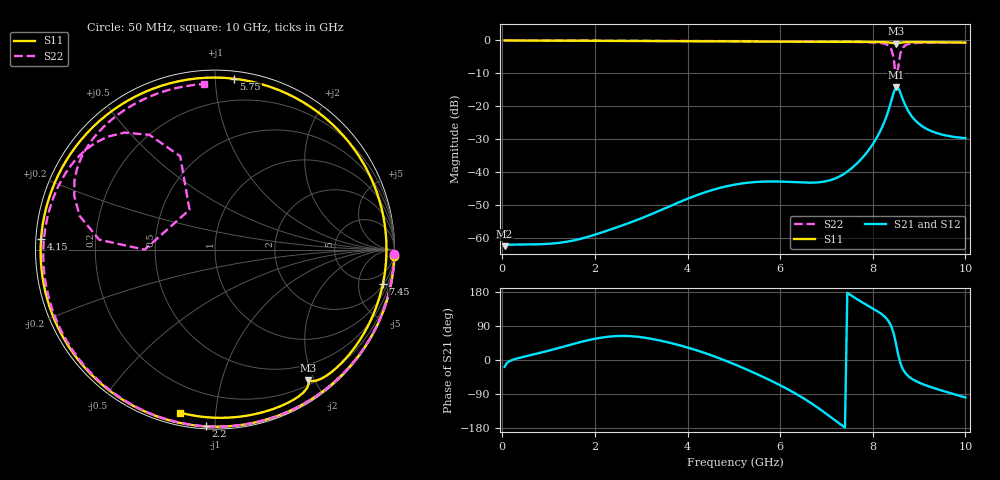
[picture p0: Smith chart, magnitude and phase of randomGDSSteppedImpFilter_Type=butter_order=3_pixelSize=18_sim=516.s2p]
! freq	dB(S11)	phase(S11)	dB(S12)	phase(S12)
!  dB(S21)	phase(S21)	dB(S22)	phase(S22)
!S-par simulation data
#  GHz  S  DB  R 50
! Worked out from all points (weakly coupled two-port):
!   200 points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, 50 MHz to 10 GHz, reference 50 ohm
!   highest |S21| = -14.19 dB at 8.5 GHz (marker M1); lowest = -62.6 dB at 50 MHz (marker M2)
!   lowest |S11| = -1.0 dB at 8.5 GHz (marker M3), VSWR 18.07, Z = 13.1 - j95.8 ohm
!   |S11| at or under -10 dB: nowhere
!   |S22| runs from -11.6 to 0.0 dB; largest |S21 - S12| = 0
!   S11 on the Smith chart (normalised r, x): 50 MHz: 0, -54; 2.2 GHz: 0.01, -0.95; 4.15 GHz: 0.01, +0.03; 5.75 GHz: 0.05, +1.12; 7.45 GHz: 2.22, -9.48; 10 GHz: 0.06, -0.81
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0.05  -0.00 -2.1  -62.59 -18.2  -62.59 -18.2  -0.00 -1.3
0.85  -0.04 -36.1  -61.98 19.9  -61.98 19.9  -0.02 -22.2
1.75  -0.09 -73.9  -60.14 49.3  -60.14 49.3  -0.06 -45.2
2.2  -0.12 -93.1  -58.18 60.1  -58.18 60.1  -0.07 -56.5
2.8  -0.15 -119.2  -55.20 62.7  -55.20 62.7  -0.09 -71.2
3.4  -0.20 -146.5  -51.77 51.5  -51.77 51.5  -0.11 -85.7
4.15  -0.26 176.4  -47.34 27.4  -47.34 27.4  -0.14 -103.5
4.6  -0.30 152.0  -45.23 8.6  -45.23 8.6  -0.17 -114.1
5.05  -0.33 126.1  -43.78 -13.2  -43.78 -13.2  -0.19 -124.8
5.75  -0.37 83.6  -42.91 -51.5  -42.91 -51.5  -0.24 -141.6
6.2  -0.38 56.2  -43.04 -79.5  -43.04 -79.5  -0.28 -152.8
6.7  -0.39 27.3  -43.26 -116.4  -43.26 -116.4  -0.33 -165.8
7.45  -0.40 -11.4  -39.92 177.3  -39.92 177.3  -0.42 172.7
8  -0.45 -35.9  -31.54 136.2  -31.54 136.2  -0.59 152.8
8.35  -0.61 -50.4  -20.83 100.7  -20.83 100.7  -1.68 127.7
8.45  -0.85 -53.9  -15.95 70.8  -15.95 70.8  -5.11 110.4
8.5  -0.96 -54.4  -14.19 43.6  -14.19 43.6  -11.58 122.6
8.55  -0.85 -54.7  -14.39 13.2  -14.39 13.2  -8.14 -179.9
8.65  -0.57 -58.3  -17.98 -24.2  -17.98 -24.2  -2.19 166.1
8.75  -0.50 -62.3  -21.08 -40.7  -21.08 -40.7  -1.18 153.8
9.25  -0.52 -79.6  -27.51 -71.3  -27.51 -71.3  -0.67 125.4
10  -0.64 -102.1  -29.73 -98.9  -29.73 -98.9  -0.69 93.8
